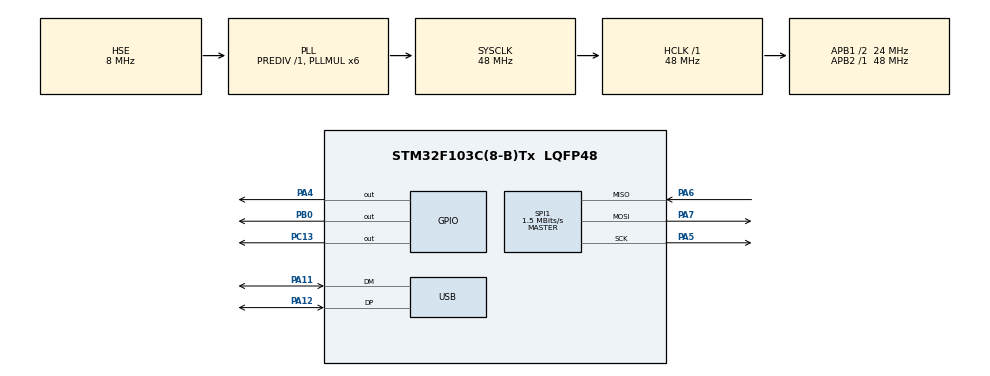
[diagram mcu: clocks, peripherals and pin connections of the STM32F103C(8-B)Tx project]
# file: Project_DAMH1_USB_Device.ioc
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Mcu.Family=STM32F1
Mcu.Name=STM32F103C(8-B)Tx
Mcu.Package=LQFP48
NVIC.PriorityGroup=NVIC_PRIORITYGROUP_4
NVIC.USB_LP_CAN1_RX0_IRQn=true\:0\:0\:false\:false\:true\:false\:true\:true
PA11.Mode=Device
PA11.Signal=USB_DM
PA12.Mode=Device
PA12.Signal=USB_DP
PA13.Mode=Serial_Wire
PA13.Signal=SYS_JTMS-SWDIO
PA14.Mode=Serial_Wire
PA14.Signal=SYS_JTCK-SWCLK
PA4.Signal=GPIO_Output
PA5.Mode=Full_Duplex_Master
PA5.Signal=SPI1_SCK
PA6.Mode=Full_Duplex_Master
PA6.Signal=SPI1_MISO
PA7.Mode=Full_Duplex_Master
PA7.Signal=SPI1_MOSI
PB0.Signal=GPIO_Output
PC13-TAMPER-RTC.Signal=GPIO_Output
PD0-OSC_IN.Mode=HSE-External-Oscillator
PD0-OSC_IN.Signal=RCC_OSC_IN
PD1-OSC_OUT.Mode=HSE-External-Oscillator
PD1-OSC_OUT.Signal=RCC_OSC_OUT
ProjectManager.HeapSize=0x200
ProjectManager.StackSize=0x400
ProjectManager.TargetToolchain=MDK-ARM V4
RCC.AHBFreq_Value=48000000
RCC.APB1CLKDivider=RCC_HCLK_DIV2
RCC.APB1Freq_Value=24000000
RCC.APB1TimFreq_Value=48000000
RCC.APB2Freq_Value=48000000
RCC.APB2TimFreq_Value=48000000
RCC.HCLKFreq_Value=48000000
RCC.PLLMUL=RCC_PLL_MUL6
RCC.SYSCLKFreq_VALUE=48000000
RCC.SYSCLKSource=RCC_SYSCLKSOURCE_PLLCLK
RCC.USBFreq_Value=48000000
SPI1.BaudRatePrescaler=SPI_BAUDRATEPRESCALER_32
SPI1.CalculateBaudRate=1.5 MBits/s
SPI1.Direction=SPI_DIRECTION_2LINES
SPI1.Mode=SPI_MODE_MASTER
SPI1.VirtualType=VM_MASTER
USB_DEVICE.CLASS_NAME_FS=HID
USB_DEVICE.VirtualMode=Hid
USB_DEVICE.VirtualModeFS=Hid_FS
VP_USB_DEVICE_VS_USB_DEVICE_HID_FS.Mode=HID_FS
board=custom

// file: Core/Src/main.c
/* USER CODE BEGIN Header */
/**
  ******************************************************************************
  * @file           : main.c
  * @brief          : Main program body
  ******************************************************************************
  * @attention
  *
  * Copyright (c) 2024 STMicroelectronics.
  * All rights reserved.
  *
  * This software is licensed under terms that can be found in the LICENSE file
  * in the root directory of this software component.
  * If no LICENSE file comes with this software, it is provided AS-IS.
  *
  ******************************************************************************
  */
/* USER CODE END Header */
#include "main.h"
#include "usb_device.h"

/* USER CODE BEGIN Includes */
#include "usbd_hid.h"
#include "NRF24L01.h"
#include "string.h"
/* USER CODE END Includes */

SPI_HandleTypeDef hspi1;

void SystemClock_Config(void);
static void MX_GPIO_Init(void);
static void MX_SPI1_Init(void);

/* USER CODE BEGIN 0 */
/****************** NRF RELATED *******************/
uint8_t RxAddress[] = {0xEE,0xDD,0xCC,0xBB,0xAA};
uint8_t memForAccel_Gyro[32];

/****************** USB RELATED *******************/
extern USBD_HandleTypeDef hUsbDeviceFS;
int8_t mousehid[] = {0,0,0,0};

long map(long x, long in_min, long in_max, long out_min, long out_max)
{
	long value;
  value = (x - in_min) * (out_max - out_min) / (in_max - in_min) + out_min;
	return value;
}

void convert_Data(void)
{
		int8_t XPos, YPos = 0;

    int16_t accel_x = (int16_t)(memForAccel_Gyro[0] << 8 | memForAccel_Gyro[1]);
    int16_t accel_y = (int16_t)(memForAccel_Gyro[2] << 8 | memForAccel_Gyro[3]);

    XPos = map(accel_x, -32768, 32767, -127, 127);
    YPos = map(accel_y, -32768, 32767, -127, 127);
		HAL_Delay(1);// Adjust the delay as needed

		if ((XPos > 10) || (XPos <-10))
		{
		 mousehid[1] = (XPos/5);

		}

		else{
			mousehid[1] = 0;
		HAL_Delay(1);// Adjust the delay as needed

		}
		if ((YPos > 10) || (YPos <-10))
		{
		 mousehid[2]= (YPos)/5;

		}

		else{
			mousehid[2] = 0;
		HAL_Delay(1);// Adjust the delay as needed

		}

}

/* USER CODE END 0 */

int main(void)
{

  /* MCU Configuration--------------------------------------------------------*/

  /* Reset of all peripherals, Initializes the Flash interface and the Systick. */
  HAL_Init();

  /* Configure the system clock */
  SystemClock_Config();

  /* Initialize all configured peripherals */
  MX_GPIO_Init();
  MX_SPI1_Init();
  MX_USB_DEVICE_Init();
  /* USER CODE BEGIN 2 */
  NRF24_Init();
  NRF24_RxMode(RxAddress, 10);
	HAL_Delay (300);
  /* USER CODE END 2 */

  /* Infinite loop */
  while (1)
  {

    /* USER CODE BEGIN 3 */
    if (isDataAvailable(1) == 1)
    {
			  NRF24_Receive(memForAccel_Gyro);
  		  HAL_GPIO_TogglePin(GPIOC, GPIO_PIN_13);

        convert_Data();

        // Send updated HID report over USB
        USBD_HID_SendReport(&hUsbDeviceFS, (uint8_t*)&mousehid, sizeof(mousehid));
				HAL_Delay(1);// Adjust the delay as needed

		}

  }
  /* USER CODE END 3 */
}

void SystemClock_Config(void)
{
  RCC_OscInitTypeDef RCC_OscInitStruct = {0};
  RCC_ClkInitTypeDef RCC_ClkInitStruct = {0};
  RCC_PeriphCLKInitTypeDef PeriphClkInit = {0};

  /** Initializes the RCC Oscillators according to the specified parameters
  * in the RCC_OscInitTypeDef structure.
  */
  RCC_OscInitStruct.OscillatorType = RCC_OSCILLATORTYPE_HSE;
  RCC_OscInitStruct.HSEState = RCC_HSE_ON;
  RCC_OscInitStruct.HSEPredivValue = RCC_HSE_PREDIV_DIV1;
  RCC_OscInitStruct.HSIState = RCC_HSI_ON;
  RCC_OscInitStruct.PLL.PLLState = RCC_PLL_ON;
  RCC_OscInitStruct.PLL.PLLSource = RCC_PLLSOURCE_HSE;
  RCC_OscInitStruct.PLL.PLLMUL = RCC_PLL_MUL6;
  if (HAL_RCC_OscConfig(&RCC_OscInitStruct) != HAL_OK)
  {
    Error_Handler();
  }

  /** Initializes the CPU, AHB and APB buses clocks
  */
  RCC_ClkInitStruct.ClockType = RCC_CLOCKTYPE_HCLK|RCC_CLOCKTYPE_SYSCLK
                              |RCC_CLOCKTYPE_PCLK1|RCC_CLOCKTYPE_PCLK2;
  RCC_ClkInitStruct.SYSCLKSource = RCC_SYSCLKSOURCE_PLLCLK;
  RCC_ClkInitStruct.AHBCLKDivider = RCC_SYSCLK_DIV1;
  RCC_ClkInitStruct.APB1CLKDivider = RCC_HCLK_DIV2;
  RCC_ClkInitStruct.APB2CLKDivider = RCC_HCLK_DIV1;

  if (HAL_RCC_ClockConfig(&RCC_ClkInitStruct, FLASH_LATENCY_1) != HAL_OK)
  {
    Error_Handler();
  }
  PeriphClkInit.PeriphClockSelection = RCC_PERIPHCLK_USB;
  PeriphClkInit.UsbClockSelection = RCC_USBCLKSOURCE_PLL;
  if (HAL_RCCEx_PeriphCLKConfig(&PeriphClkInit) != HAL_OK)
  {
    Error_Handler();
  }
}

static void MX_SPI1_Init(void)
{

  /* SPI1 parameter configuration*/
  hspi1.Instance = SPI1;
  hspi1.Init.Mode = SPI_MODE_MASTER;
  hspi1.Init.Direction = SPI_DIRECTION_2LINES;
  hspi1.Init.DataSize = SPI_DATASIZE_8BIT;
  hspi1.Init.CLKPolarity = SPI_POLARITY_LOW;
  hspi1.Init.CLKPhase = SPI_PHASE_1EDGE;
  hspi1.Init.NSS = SPI_NSS_SOFT;
  hspi1.Init.BaudRatePrescaler = SPI_BAUDRATEPRESCALER_32;
  hspi1.Init.FirstBit = SPI_FIRSTBIT_MSB;
  hspi1.Init.TIMode = SPI_TIMODE_DISABLE;
  hspi1.Init.CRCCalculation = SPI_CRCCALCULATION_DISABLE;
  hspi1.Init.CRCPolynomial = 10;
  if (HAL_SPI_Init(&hspi1) != HAL_OK)
  {
    Error_Handler();
  }

}

static void MX_GPIO_Init(void)
{
  GPIO_InitTypeDef GPIO_InitStruct = {0};

  /* GPIO Ports Clock Enable */
  __HAL_RCC_GPIOC_CLK_ENABLE();
  __HAL_RCC_GPIOD_CLK_ENABLE();
  __HAL_RCC_GPIOA_CLK_ENABLE();
  __HAL_RCC_GPIOB_CLK_ENABLE();

  /*Configure GPIO pin Output Level */
  HAL_GPIO_WritePin(GPIOC, GPIO_PIN_13, GPIO_PIN_RESET);

  /*Configure GPIO pin Output Level */
  HAL_GPIO_WritePin(GPIOA, GPIO_PIN_4, GPIO_PIN_RESET);

  /*Configure GPIO pin Output Level */
  HAL_GPIO_WritePin(GPIOB, GPIO_PIN_0, GPIO_PIN_RESET);

  /*Configure GPIO pin : PC13 */
  GPIO_InitStruct.Pin = GPIO_PIN_13;
  GPIO_InitStruct.Mode = GPIO_MODE_OUTPUT_PP;
  GPIO_InitStruct.Pull = GPIO_NOPULL;
  GPIO_InitStruct.Speed = GPIO_SPEED_FREQ_LOW;
  HAL_GPIO_Init(GPIOC, &GPIO_InitStruct);

  /*Configure GPIO pin : PA4 */
  GPIO_InitStruct.Pin = GPIO_PIN_4;
  GPIO_InitStruct.Mode = GPIO_MODE_OUTPUT_PP;
  GPIO_InitStruct.Pull = GPIO_NOPULL;
  GPIO_InitStruct.Speed = GPIO_SPEED_FREQ_LOW;
  HAL_GPIO_Init(GPIOA, &GPIO_InitStruct);

  /*Configure GPIO pin : PB0 */
  GPIO_InitStruct.Pin = GPIO_PIN_0;
  GPIO_InitStruct.Mode = GPIO_MODE_OUTPUT_PP;
  GPIO_InitStruct.Pull = GPIO_NOPULL;
  GPIO_InitStruct.Speed = GPIO_SPEED_FREQ_LOW;
  HAL_GPIO_Init(GPIOB, &GPIO_InitStruct);

}

void Error_Handler(void)
{
  __disable_irq();
  while (1)
  {
  }
}
